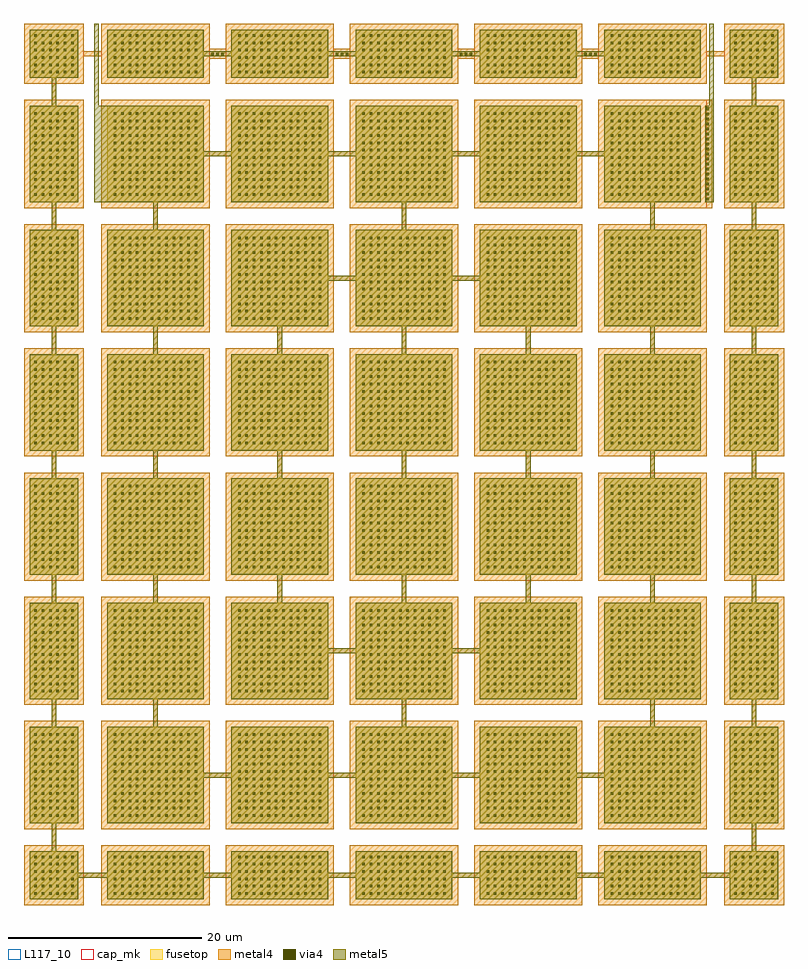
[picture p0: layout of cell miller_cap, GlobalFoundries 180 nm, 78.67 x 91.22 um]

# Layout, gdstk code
from math import pi, radians
import gdstk
lib = gdstk.Library(unit=1e-6, precision=5e-09)
def R(c, l, rs):  # rectangles x0, y0, x1, y1
    for r in rs: c.add(gdstk.rectangle(r[:2], r[2:], *l))
def A(c, l, x, y, w, h, nx, ny, dx, dy):  # array of equal rectangles
    R(c, l, [(x+i*dx, y+j*dy, x+i*dx+w, y+j*dy+h) for i in range(nx) for j in range(ny)])
via4 = (41, 0)
metal4 = (46, 0)
fusetop = (75, 0)
metal5 = (81, 0)
cap_mk = (117, 5)
L117_10 = (117, 10)

cap_mim_1 = lib.new_cell('cap_mim$1')
A(cap_mim_1, via4, 0.69, 0.69, 0.26, 0.26, 12, 12, 0.76, 0.76)
R(cap_mim_1, metal4, [(-0.6,-0.6,10.6,10.6)])
R(cap_mim_1, fusetop, [(0,0,10,10)])
R(cap_mim_1, metal5, [(0,0,10,10)])
R(cap_mim_1, cap_mk, [(-0.6,-0.6,10.6,10.6)])
R(cap_mim_1, L117_10, [(0,0,10,0.1)])

cap_mim = lib.new_cell('cap_mim')
A(cap_mim, via4, 0.47, 0.69, 0.26, 0.26, 6, 12, 0.76, 0.76)
R(cap_mim, metal4, [(-0.6,-0.6,5.6,10.6)])
R(cap_mim, fusetop, [(0,0,5,10)])
R(cap_mim, metal5, [(0,0,5,10)])
R(cap_mim, cap_mk, [(-0.6,-0.6,5.6,10.6)])
R(cap_mim, L117_10, [(0,0,5,0.1)])

cap_mim_2 = lib.new_cell('cap_mim$2')
A(cap_mim_2, via4, 0.47, 0.47, 0.26, 0.26, 6, 6, 0.76, 0.76)
R(cap_mim_2, metal4, [(-0.6,-0.6,5.6,5.6)])
R(cap_mim_2, fusetop, [(0,0,5,5)])
R(cap_mim_2, metal5, [(0,0,5,5)])
R(cap_mim_2, cap_mk, [(-0.6,-0.6,5.6,5.6)])
R(cap_mim_2, L117_10, [(0,0,5,0.1)])

miller_cap = lib.new_cell('miller_cap')
A(miller_cap, via4, 70.605, 72.945, 0.26, 0.26, 1, 19, 0, 0.52)
A(miller_cap, via4, 19.395, 87.99, 0.26, 0.26, 3, 1, 0.52, 0)
A(miller_cap, via4, 32.255, 87.99, 0.26, 0.26, 3, 1, 0.52, 0)
A(miller_cap, via4, 45.115, 87.99, 0.26, 0.26, 3, 1, 0.52, 0)
A(miller_cap, via4, 57.975, 87.99, 0.26, 0.26, 3, 1, 0.52, 0)
A(miller_cap, metal4, 19.215, 87.59, 1.66, 1.06, 4, 1, 12.86, 0)
R(miller_cap, metal4, [(17.045,72.16,19.215,77.76), (70.655,72.16,71.265,83.355)])
R(miller_cap, metal5, [(70.515,72.755,70.955,82.755), (7.715,72.76,8.615,82.76)])
miller_cap.add(gdstk.FlexPath([(3.35,88.12),(75.57,88.12),(75.57,3.1),(3.1,3.1),(3.1,88.37)], 0.5, ends="flush", simple_path=True, layer=46, datatype=0))  # metal4
miller_cap.add(gdstk.FlexPath([(26.725,64.9),(52.195,64.9),(52.195,26.32),(26.475,26.32),(26.475,65.15)], 0.5, ends="flush", simple_path=True, layer=46, datatype=0))  # metal4
miller_cap.add(gdstk.FlexPath([(39.335,13.71),(39.335,77.51)], 0.5, ends="flush", simple_path=True, layer=46, datatype=0))  # metal4
miller_cap.add(gdstk.FlexPath([(13.365,77.76),(65.055,77.76),(65.055,13.46),(13.615,13.46),(13.615,77.51)], 0.5, ends="flush", simple_path=True, layer=46, datatype=0))  # metal4
miller_cap.add(gdstk.FlexPath([(71.175,72.755),(71.175,91.215)], 0.44, ends="flush", simple_path=True, layer=81, datatype=0))  # metal5
miller_cap.add(gdstk.FlexPath([(73.07,88.12),(75.57,88.12),(75.57,3.1),(3.1,3.1),(3.1,88.37)], 0.5, ends="flush", simple_path=True, layer=81, datatype=0))  # metal5
miller_cap.add(gdstk.FlexPath([(7.495,72.76),(7.495,91.22)], 0.44, ends="flush", simple_path=True, layer=81, datatype=0))  # metal5
miller_cap.add(gdstk.FlexPath([(18.615,88.12),(60.055,88.12)], 0.5, ends="flush", simple_path=True, layer=81, datatype=0))  # metal5
miller_cap.add(gdstk.FlexPath([(26.725,64.9),(52.195,64.9),(52.195,26.32),(26.475,26.32),(26.475,65.15)], 0.5, ends="flush", simple_path=True, layer=81, datatype=0))  # metal5
miller_cap.add(gdstk.FlexPath([(39.335,13.71),(39.335,77.51)], 0.5, ends="flush", simple_path=True, layer=81, datatype=0))  # metal5
miller_cap.add(gdstk.FlexPath([(13.365,77.76),(65.055,77.76),(65.055,13.46),(13.615,13.46),(13.615,77.51)], 0.5, ends="flush", simple_path=True, layer=81, datatype=0))  # metal5
miller_cap.add(gdstk.Reference(cap_mim_1, (8.615,72.76)))
miller_cap.add(gdstk.Reference(cap_mim_1, (21.475,72.76)))
miller_cap.add(gdstk.Reference(cap_mim_1, (34.335,72.76)))
miller_cap.add(gdstk.Reference(cap_mim_1, (47.195,72.76)))
miller_cap.add(gdstk.Reference(cap_mim_1, (60.055,72.76)))
miller_cap.add(gdstk.Reference(cap_mim_1, (8.615,59.9)))
miller_cap.add(gdstk.Reference(cap_mim_1, (21.475,59.9)))
miller_cap.add(gdstk.Reference(cap_mim_1, (34.335,59.9)))
miller_cap.add(gdstk.Reference(cap_mim_1, (47.195,59.9)))
miller_cap.add(gdstk.Reference(cap_mim_1, (60.055,59.9)))
miller_cap.add(gdstk.Reference(cap_mim_1, (8.615,47.04)))
miller_cap.add(gdstk.Reference(cap_mim_1, (21.475,47.04)))
miller_cap.add(gdstk.Reference(cap_mim_1, (34.335,47.04)))
miller_cap.add(gdstk.Reference(cap_mim_1, (47.195,47.04)))
miller_cap.add(gdstk.Reference(cap_mim_1, (60.055,47.04)))
miller_cap.add(gdstk.Reference(cap_mim_1, (8.615,34.18)))
miller_cap.add(gdstk.Reference(cap_mim_1, (21.475,34.18)))
miller_cap.add(gdstk.Reference(cap_mim_1, (34.335,34.18)))
miller_cap.add(gdstk.Reference(cap_mim_1, (47.195,34.18)))
miller_cap.add(gdstk.Reference(cap_mim_1, (60.055,34.18)))
miller_cap.add(gdstk.Reference(cap_mim_1, (8.615,21.32)))
miller_cap.add(gdstk.Reference(cap_mim_1, (21.475,21.32)))
miller_cap.add(gdstk.Reference(cap_mim_1, (34.335,21.32)))
miller_cap.add(gdstk.Reference(cap_mim_1, (47.195,21.32)))
miller_cap.add(gdstk.Reference(cap_mim_1, (60.055,21.32)))
miller_cap.add(gdstk.Reference(cap_mim_1, (8.615,8.46)))
miller_cap.add(gdstk.Reference(cap_mim_1, (21.475,8.46)))
miller_cap.add(gdstk.Reference(cap_mim_1, (34.335,8.46)))
miller_cap.add(gdstk.Reference(cap_mim_1, (47.195,8.46)))
miller_cap.add(gdstk.Reference(cap_mim_1, (60.055,8.46)))
miller_cap.add(gdstk.Reference(cap_mim, (5.6,82.76), rotation=pi))
miller_cap.add(gdstk.Reference(cap_mim, (5.6,69.9), rotation=pi))
miller_cap.add(gdstk.Reference(cap_mim, (5.6,57.04), rotation=pi))
miller_cap.add(gdstk.Reference(cap_mim, (5.6,44.18), rotation=pi))
miller_cap.add(gdstk.Reference(cap_mim, (5.6,31.32), rotation=pi))
miller_cap.add(gdstk.Reference(cap_mim, (5.6,18.46), rotation=pi))
miller_cap.add(gdstk.Reference(cap_mim, (18.615,0.6), rotation=pi/2))
miller_cap.add(gdstk.Reference(cap_mim, (31.475,0.6), rotation=pi/2))
miller_cap.add(gdstk.Reference(cap_mim, (57.195,0.6), rotation=pi/2))
miller_cap.add(gdstk.Reference(cap_mim, (44.335,0.6), rotation=pi/2))
miller_cap.add(gdstk.Reference(cap_mim, (70.055,0.6), rotation=pi/2))
miller_cap.add(gdstk.Reference(cap_mim, (78.07,18.46), rotation=pi))
miller_cap.add(gdstk.Reference(cap_mim, (78.07,31.32), rotation=pi))
miller_cap.add(gdstk.Reference(cap_mim, (78.07,44.18), rotation=pi))
miller_cap.add(gdstk.Reference(cap_mim, (78.07,57.04), rotation=pi))
miller_cap.add(gdstk.Reference(cap_mim, (78.07,69.9), rotation=pi))
miller_cap.add(gdstk.Reference(cap_mim, (78.07,82.76), rotation=pi))
miller_cap.add(gdstk.Reference(cap_mim_2, (78.07,0.6), rotation=pi/2))
miller_cap.add(gdstk.Reference(cap_mim_2, (5.6,0.6), rotation=pi/2))
miller_cap.add(gdstk.Reference(cap_mim_2, (5.6,85.62), rotation=pi/2))
miller_cap.add(gdstk.Reference(cap_mim, (70.055,85.62), rotation=pi/2))
miller_cap.add(gdstk.Reference(cap_mim, (44.335,85.62), rotation=pi/2))
miller_cap.add(gdstk.Reference(cap_mim, (57.195,85.62), rotation=pi/2))
miller_cap.add(gdstk.Reference(cap_mim, (31.475,85.62), rotation=pi/2))
miller_cap.add(gdstk.Reference(cap_mim, (18.615,85.62), rotation=pi/2))
miller_cap.add(gdstk.Reference(cap_mim_2, (78.07,85.62), rotation=pi/2))

lib.write_gds('miller_cap.gds')
